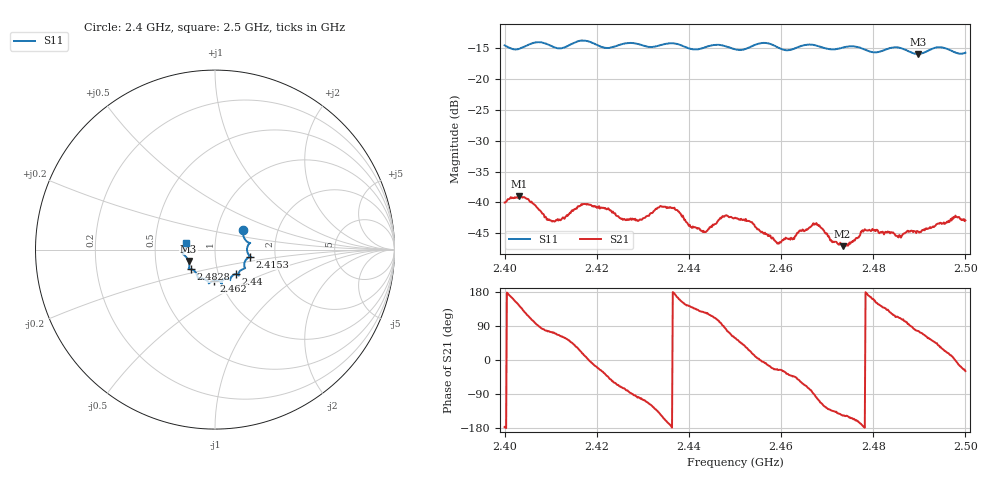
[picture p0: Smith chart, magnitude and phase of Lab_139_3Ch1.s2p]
# Hz S RI R 50
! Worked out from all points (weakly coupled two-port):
!   601 points, 2.4 GHz to 2.5 GHz, reference 50 ohm
!   highest |S21| = -38.97 dB at 2.4032 GHz (marker M1); lowest = -47.1 dB at 2.4733 GHz (marker M2)
!   lowest |S11| = -15.9 dB at 2.4897 GHz (marker M3), VSWR 1.38, Z = 36.9 - j4.82 ohm
!   |S11| at or under -10 dB: start of sweep to end of sweep
!   S12 and S22 are empty: the file has one direction only
!   S11 on the Smith chart (normalised r, x): 2.4 GHz: 1.33, +0.29; 2.4153 GHz: 1.48, -0.12; 2.44 GHz: 1.21, -0.34; 2.462 GHz: 0.93, -0.33; 2.4828 GHz: 0.74, -0.17; 2.5 GHz: 0.72, +0.06
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2.4e9  0.1554 0.1067  -0.00998 -0.000544  0 0  0 0
2.403167e9  0.1671 0.0574  -0.00906 0.00668  0 0  0 0
2.410333e9  0.1835 0.0223  0.00199 0.00671  0 0  0 0
2.415333e9  0.196 -0.039  0.00707 0.00529  0 0  0 0
2.416667e9  0.2017 -0.0428  0.00907 0.00344  0 0  0 0
2.429e9  0.1617 -0.1056  -0.000953 -0.00702  0 0  0 0
2.433333e9  0.1309 -0.1335  -0.00665 -0.00621  0 0  0 0
2.437e9  0.1321 -0.1435  -0.0087 0.00111  0 0  0 0
2.44e9  0.1143 -0.1366  -0.00512 0.00394  0 0  0 0
2.4435e9  0.0869 -0.1595  -0.00328 0.00473  0 0  0 0
2.447667e9  0.0827 -0.1672  0.000471 0.00765  0 0  0 0
2.45e9  0.065 -0.1626  0.00399 0.00638  0 0  0 0
2.459e9  0.0308 -0.1809  0.00432 -0.00203  0 0  0 0
2.462e9  -0.00538 -0.1731  0.0038 -0.00323  0 0  0 0
2.466667e9  -0.0344 -0.1878  0.000804 -0.00645  0 0  0 0
2.473333e9  -0.0827 -0.1602  -0.00369 -0.00244  0 0  0 0
2.477833e9  -0.0983 -0.1464  -0.00579 -0.000453  0 0  0 0
2.482833e9  -0.1365 -0.1093  -0.00395 0.00415  0 0  0 0
2.483333e9  -0.1403 -0.109  -0.0037 0.00438  0 0  0 0
2.489667e9  -0.147 -0.0636  0.00135 0.00568  0 0  0 0
2.494333e9  -0.1806 -0.0219  0.00532 0.00414  0 0  0 0
2.5e9  -0.1595 0.0391  0.00625 -0.0035  0 0  0 0
